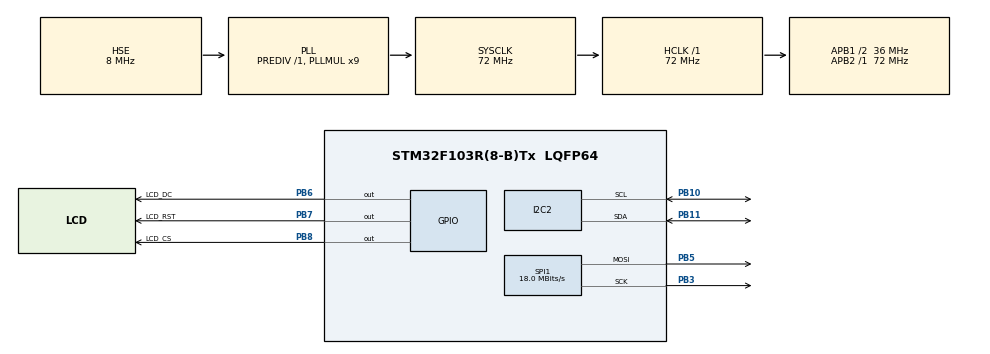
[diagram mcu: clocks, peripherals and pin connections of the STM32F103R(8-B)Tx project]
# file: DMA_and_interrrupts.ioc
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Dma.I2C2_RX.1.Direction=DMA_PERIPH_TO_MEMORY
Dma.I2C2_RX.1.Instance=DMA1_Channel5
Dma.I2C2_RX.1.MemDataAlignment=DMA_MDATAALIGN_BYTE
Dma.I2C2_RX.1.MemInc=DMA_MINC_ENABLE
Dma.I2C2_RX.1.Mode=DMA_NORMAL
Dma.I2C2_RX.1.PeriphDataAlignment=DMA_PDATAALIGN_BYTE
Dma.I2C2_RX.1.PeriphInc=DMA_PINC_DISABLE
Dma.I2C2_RX.1.Priority=DMA_PRIORITY_LOW
Dma.Request0=SPI1_TX
Dma.Request1=I2C2_RX
Dma.SPI1_TX.0.Direction=DMA_MEMORY_TO_PERIPH
Dma.SPI1_TX.0.Instance=DMA1_Channel3
Dma.SPI1_TX.0.MemDataAlignment=DMA_MDATAALIGN_BYTE
Dma.SPI1_TX.0.MemInc=DMA_MINC_ENABLE
Dma.SPI1_TX.0.Mode=DMA_NORMAL
Dma.SPI1_TX.0.PeriphDataAlignment=DMA_PDATAALIGN_BYTE
Dma.SPI1_TX.0.PeriphInc=DMA_PINC_DISABLE
Dma.SPI1_TX.0.Priority=DMA_PRIORITY_LOW
I2C2.I2C_Mode=I2C_Standard
Mcu.Family=STM32F1
Mcu.Name=STM32F103R(8-B)Tx
Mcu.Package=LQFP64
NVIC.DMA1_Channel3_IRQn=true\:0\:0\:false\:false\:true\:false\:true\:true
NVIC.DMA1_Channel5_IRQn=true\:0\:0\:false\:false\:true\:false\:true\:true
NVIC.I2C2_EV_IRQn=true\:0\:0\:false\:false\:true\:true\:true\:true
NVIC.PriorityGroup=NVIC_PRIORITYGROUP_4
PA13.Mode=Serial_Wire
PA13.Signal=SYS_JTMS-SWDIO
PA14.Mode=Serial_Wire
PA14.Signal=SYS_JTCK-SWCLK
PB10.Mode=I2C
PB10.Signal=I2C2_SCL
PB11.Mode=I2C
PB11.Signal=I2C2_SDA
PB3.Mode=TX_Only_Simplex_Unidirect_Master
PB3.Signal=SPI1_SCK
PB5.Mode=TX_Only_Simplex_Unidirect_Master
PB5.Signal=SPI1_MOSI
PB6.GPIO_Label=LCD_DC
PB6.GPIO_PuPd=GPIO_NOPULL
PB6.GPIO_Speed=GPIO_SPEED_FREQ_HIGH
PB6.PinState=GPIO_PIN_SET
PB6.Signal=GPIO_Output
PB7.GPIO_Label=LCD_RST
PB7.GPIO_PuPd=GPIO_PULLUP
PB7.GPIO_Speed=GPIO_SPEED_FREQ_HIGH
PB7.PinState=GPIO_PIN_SET
PB7.Signal=GPIO_Output
PB8.GPIO_Label=LCD_CS
PB8.GPIO_PuPd=GPIO_PULLUP
PB8.GPIO_Speed=GPIO_SPEED_FREQ_HIGH
PB8.PinState=GPIO_PIN_SET
PB8.Signal=GPIO_Output
PD0-OSC_IN.Mode=HSE-External-Oscillator
PD0-OSC_IN.Signal=RCC_OSC_IN
PD1-OSC_OUT.Mode=HSE-External-Oscillator
PD1-OSC_OUT.Signal=RCC_OSC_OUT
ProjectManager.HeapSize=0x200
ProjectManager.StackSize=0x400
ProjectManager.TargetToolchain=STM32CubeIDE
RCC.AHBFreq_Value=72000000
RCC.APB1CLKDivider=RCC_HCLK_DIV2
RCC.APB1Freq_Value=36000000
RCC.APB1TimFreq_Value=72000000
RCC.APB2Freq_Value=72000000
RCC.APB2TimFreq_Value=72000000
RCC.EnbaleCSS=true
RCC.HCLKFreq_Value=72000000
RCC.PLLMUL=RCC_PLL_MUL9
RCC.PLLSourceVirtual=RCC_PLLSOURCE_HSE
RCC.SYSCLKFreq_VALUE=72000000
RCC.SYSCLKSource=RCC_SYSCLKSOURCE_PLLCLK
RCC.USBFreq_Value=72000000
SPI1.BaudRatePrescaler=SPI_BAUDRATEPRESCALER_4
SPI1.CLKPolarity=SPI_POLARITY_LOW
SPI1.CalculateBaudRate=18.0 MBits/s
SPI1.Direction=SPI_DIRECTION_2LINES
SPI1.Mode=SPI_MODE_MASTER
SPI1.VirtualType=VM_MASTER
board=custom

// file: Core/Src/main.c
/* USER CODE BEGIN Header */
/**
  ******************************************************************************
  * @file           : main.c
  * @brief          : Main program body
  ******************************************************************************
  * @attention
  *
  * Copyright (c) 2024 STMicroelectronics.
  * All rights reserved.
  *
  * This software is licensed under terms that can be found in the LICENSE file
  * in the root directory of this software component.
  * If no LICENSE file comes with this software, it is provided AS-IS.
  *
  ******************************************************************************
  */
/* USER CODE END Header */
#include "main.h"

/* USER CODE BEGIN Includes */
#include "lcd.h"
#include "bme280.h"
#include "bme280_defs.h"
#include <stdio.h>
/* USER CODE END Includes */

/* USER CODE BEGIN PM */
#define DEFAULT_FONT FONT_6X8
/* USER CODE END PM */

I2C_HandleTypeDef hi2c2;
DMA_HandleTypeDef hdma_i2c2_rx;

SPI_HandleTypeDef hspi1;
DMA_HandleTypeDef hdma_spi1_tx;

void SystemClock_Config(void);
static void MX_GPIO_Init(void);
static void MX_DMA_Init(void);
static void MX_SPI1_Init(void);
static void MX_I2C2_Init(void);

/* USER CODE BEGIN PFP */
uint8_t get_weather_data(struct bme280_data *data, struct bme280_dev *dev, struct bme280_settings *settings);
BME280_INTF_RET_TYPE bme280_i2c_read(uint8_t reg_addr, uint8_t *reg_data, uint32_t len, void *intf_ptr);
BME280_INTF_RET_TYPE bme280_i2c_write(uint8_t reg_addr, const uint8_t *reg_data, uint32_t len, void *intf_ptr);
void bme280_delay_us(uint32_t period, void *intf_ptr);
/* USER CODE END PFP */

int main(void)
{
  /* USER CODE BEGIN 1 */
	CoreDebug->DEMCR |= CoreDebug_DEMCR_TRCENA_Msk; // Enable DWT
	DWT->CYCCNT = 0;                                // Clear counter
	DWT->CTRL = DWT_CTRL_CYCCNTENA_Msk;             // Enable counter
  /* USER CODE END 1 */

  /* MCU Configuration--------------------------------------------------------*/

  /* Reset of all peripherals, Initializes the Flash interface and the Systick. */
  HAL_Init();

  /* Configure the system clock */
  SystemClock_Config();

  /* Initialize all configured peripherals */
  MX_GPIO_Init();
  MX_DMA_Init();
  MX_SPI1_Init();
  MX_I2C2_Init();
  /* USER CODE BEGIN 2 */
  LCD_init();
  struct bme280_dev bme280;
  bme280.chip_id = BME280_I2C_ADDR_PRIM;
  bme280.delay_us = bme280_delay_us;
  bme280.write = bme280_i2c_write;
  bme280.read = bme280_i2c_read;
  bme280.intf = BME280_I2C_INTF;

  struct bme280_settings settings;
  settings.filter = BME280_FILTER_COEFF_16;
  settings.osr_h = BME280_OVERSAMPLING_2X;
  settings.osr_p = BME280_OVERSAMPLING_16X;
  settings.osr_t = BME280_OVERSAMPLING_2X;

  uint8_t result;
  result = bme280_init(&bme280);
  if(result == BME280_OK){
	  uint8_t desired_settings  = BME280_SEL_OSR_PRESS | BME280_SEL_OSR_TEMP | BME280_SEL_OSR_HUM | BME280_SEL_FILTER;
	  result = bme280_set_sensor_settings(desired_settings, &settings, &bme280);
	 // result = bme280_get_sensor_settings(&settings, &bme280);
  }

  struct bme280_data sensor_data;
  char disp_temp[30];
  char disp_press[30];
  char disp_hum[30];
  /* USER CODE END 2 */

  /* Infinite loop */
  /* USER CODE BEGIN WHILE */
  while (1)
  {
	//LCD_Test();
	  //API from Bosch test
	  result = get_weather_data(&sensor_data, &bme280, &settings);
	  sprintf(disp_temp,"Temperature: %ld.%02ld",sensor_data.temperature/100,sensor_data.temperature%100);
	  sprintf(disp_hum,"Humidity: %lu.%02lu",sensor_data.humidity/1000,sensor_data.humidity%1000);
	  sprintf(disp_press,"Pressure: %lu",sensor_data.pressure/100 + 8);
	  LCD_PutStr(50, 56, disp_temp, DEFAULT_FONT, C_GREEN, C_BLACK);
	  //HAL_Delay(500);
	  LCD_PutStr(50, 76, disp_press, DEFAULT_FONT, C_GREEN, C_BLACK);
	  //HAL_Delay(500);
	  LCD_PutStr(50, 96, disp_hum, DEFAULT_FONT, C_GREEN, C_BLACK);
	  HAL_Delay(500);

    /* USER CODE END WHILE */

  }
}

void SystemClock_Config(void)
{
  RCC_OscInitTypeDef RCC_OscInitStruct = {0};
  RCC_ClkInitTypeDef RCC_ClkInitStruct = {0};

  /** Initializes the RCC Oscillators according to the specified parameters
  * in the RCC_OscInitTypeDef structure.
  */
  RCC_OscInitStruct.OscillatorType = RCC_OSCILLATORTYPE_HSE;
  RCC_OscInitStruct.HSEState = RCC_HSE_ON;
  RCC_OscInitStruct.HSEPredivValue = RCC_HSE_PREDIV_DIV1;
  RCC_OscInitStruct.HSIState = RCC_HSI_ON;
  RCC_OscInitStruct.PLL.PLLState = RCC_PLL_ON;
  RCC_OscInitStruct.PLL.PLLSource = RCC_PLLSOURCE_HSE;
  RCC_OscInitStruct.PLL.PLLMUL = RCC_PLL_MUL9;
  if (HAL_RCC_OscConfig(&RCC_OscInitStruct) != HAL_OK)
  {
    Error_Handler();
  }

  /** Initializes the CPU, AHB and APB buses clocks
  */
  RCC_ClkInitStruct.ClockType = RCC_CLOCKTYPE_HCLK|RCC_CLOCKTYPE_SYSCLK
                              |RCC_CLOCKTYPE_PCLK1|RCC_CLOCKTYPE_PCLK2;
  RCC_ClkInitStruct.SYSCLKSource = RCC_SYSCLKSOURCE_PLLCLK;
  RCC_ClkInitStruct.AHBCLKDivider = RCC_SYSCLK_DIV1;
  RCC_ClkInitStruct.APB1CLKDivider = RCC_HCLK_DIV2;
  RCC_ClkInitStruct.APB2CLKDivider = RCC_HCLK_DIV1;

  if (HAL_RCC_ClockConfig(&RCC_ClkInitStruct, FLASH_LATENCY_2) != HAL_OK)
  {
    Error_Handler();
  }

  /** Enables the Clock Security System
  */
  HAL_RCC_EnableCSS();
}

static void MX_I2C2_Init(void)
{

  hi2c2.Instance = I2C2;
  hi2c2.Init.ClockSpeed = 100000;
  hi2c2.Init.DutyCycle = I2C_DUTYCYCLE_2;
  hi2c2.Init.OwnAddress1 = 0;
  hi2c2.Init.AddressingMode = I2C_ADDRESSINGMODE_7BIT;
  hi2c2.Init.DualAddressMode = I2C_DUALADDRESS_DISABLE;
  hi2c2.Init.OwnAddress2 = 0;
  hi2c2.Init.GeneralCallMode = I2C_GENERALCALL_DISABLE;
  hi2c2.Init.NoStretchMode = I2C_NOSTRETCH_DISABLE;
  if (HAL_I2C_Init(&hi2c2) != HAL_OK)
  {
    Error_Handler();
  }

}

static void MX_SPI1_Init(void)
{

  /* SPI1 parameter configuration*/
  hspi1.Instance = SPI1;
  hspi1.Init.Mode = SPI_MODE_MASTER;
  hspi1.Init.Direction = SPI_DIRECTION_2LINES;
  hspi1.Init.DataSize = SPI_DATASIZE_8BIT;
  hspi1.Init.CLKPolarity = SPI_POLARITY_LOW;
  hspi1.Init.CLKPhase = SPI_PHASE_1EDGE;
  hspi1.Init.NSS = SPI_NSS_SOFT;
  hspi1.Init.BaudRatePrescaler = SPI_BAUDRATEPRESCALER_4;
  hspi1.Init.FirstBit = SPI_FIRSTBIT_MSB;
  hspi1.Init.TIMode = SPI_TIMODE_DISABLE;
  hspi1.Init.CRCCalculation = SPI_CRCCALCULATION_DISABLE;
  hspi1.Init.CRCPolynomial = 10;
  if (HAL_SPI_Init(&hspi1) != HAL_OK)
  {
    Error_Handler();
  }

}

static void MX_DMA_Init(void)
{

  /* DMA controller clock enable */
  __HAL_RCC_DMA1_CLK_ENABLE();

  /* DMA interrupt init */
  /* DMA1_Channel3_IRQn interrupt configuration */
  HAL_NVIC_SetPriority(DMA1_Channel3_IRQn, 0, 0);
  HAL_NVIC_EnableIRQ(DMA1_Channel3_IRQn);
  /* DMA1_Channel5_IRQn interrupt configuration */
  HAL_NVIC_SetPriority(DMA1_Channel5_IRQn, 0, 0);
  HAL_NVIC_EnableIRQ(DMA1_Channel5_IRQn);

}

static void MX_GPIO_Init(void)
{
  GPIO_InitTypeDef GPIO_InitStruct = {0};

  /* GPIO Ports Clock Enable */
  __HAL_RCC_GPIOD_CLK_ENABLE();
  __HAL_RCC_GPIOB_CLK_ENABLE();
  __HAL_RCC_GPIOA_CLK_ENABLE();

  /*Configure GPIO pin Output Level */
  HAL_GPIO_WritePin(GPIOB, LCD_DC_Pin|LCD_RST_Pin|LCD_CS_Pin, GPIO_PIN_SET);

  /*Configure GPIO pin : LCD_DC_Pin */
  GPIO_InitStruct.Pin = LCD_DC_Pin;
  GPIO_InitStruct.Mode = GPIO_MODE_OUTPUT_PP;
  GPIO_InitStruct.Pull = GPIO_NOPULL;
  GPIO_InitStruct.Speed = GPIO_SPEED_FREQ_HIGH;
  HAL_GPIO_Init(LCD_DC_GPIO_Port, &GPIO_InitStruct);

  /*Configure GPIO pins : LCD_RST_Pin LCD_CS_Pin */
  GPIO_InitStruct.Pin = LCD_RST_Pin|LCD_CS_Pin;
  GPIO_InitStruct.Mode = GPIO_MODE_OUTPUT_PP;
  GPIO_InitStruct.Pull = GPIO_PULLUP;
  GPIO_InitStruct.Speed = GPIO_SPEED_FREQ_HIGH;
  HAL_GPIO_Init(GPIOB, &GPIO_InitStruct);

}

/* USER CODE BEGIN 4 */

uint8_t get_weather_data(struct bme280_data *data, struct bme280_dev *dev, struct bme280_settings *settings){
	int8_t rslt = BME280_OK;
	uint32_t req_delay;
	uint8_t sensor_mode = BME280_POWERMODE_FORCED;
	rslt = bme280_cal_meas_delay(&req_delay, settings);
	req_delay/=1000; //convert to ms
	if(rslt != BME280_OK){
		return -1;
	}
	rslt = bme280_set_sensor_mode(sensor_mode, dev);
	if(rslt != BME280_OK){
		return -1;
	}
	HAL_Delay(req_delay);
	rslt = bme280_get_sensor_data(BME280_PRESS | BME280_TEMP | BME280_HUM, data, dev);
	if(rslt != BME280_OK){
		return -1;
	}
	return BME280_OK;
}

BME280_INTF_RET_TYPE bme280_i2c_read(uint8_t reg_addr, uint8_t *reg_data, uint32_t len, void *intf_ptr){
	HAL_StatusTypeDef ret;
	ret = HAL_I2C_Master_Transmit(&hi2c2, BME280_I2C_ADDR_PRIM<<1, &reg_addr, 1, 1000);
	if(ret != HAL_OK){
		return BME280_E_COMM_FAIL;
	}
	ret = HAL_I2C_Master_Receive(&hi2c2, BME280_I2C_ADDR_PRIM<<1, reg_data, (uint16_t)len,1000);
	if(ret != HAL_OK){
		return BME280_E_COMM_FAIL;
	}
	return BME280_INTF_RET_SUCCESS;
}

BME280_INTF_RET_TYPE bme280_i2c_read_DMA(uint8_t reg_addr, uint8_t *reg_data, uint32_t len, void *intf_ptr){
	HAL_I2C_Master_Receive_DMA(&hi2c2, BME280_I2C_ADDR_PRIM<<1, reg_data, (uint16_t)len);
}

BME280_INTF_RET_TYPE bme280_i2c_write(uint8_t reg_addr, const uint8_t *reg_data, uint32_t len, void *intf_ptr){
	HAL_StatusTypeDef ret;
	uint8_t data_to_send[len+1];
	data_to_send[0]=reg_addr;
	for(int i=0;i<len;i++){
		data_to_send[i+1] = reg_data[i];
	}
	ret = HAL_I2C_Master_Transmit(&hi2c2, BME280_I2C_ADDR_PRIM<<1, data_to_send, len+1, 1000);
	if(ret != HAL_OK){
		return BME280_E_COMM_FAIL;
	}
	/*
	ret = HAL_I2C_Master_Transmit(&hi2c2, BME280_I2C_ADDR_PRIM<<1, reg_data, (uint16_t)len, 1000);
	if(ret != HAL_OK){
		return BME280_E_COMM_FAIL;
		}
		*/
	return BME280_INTF_RET_SUCCESS;

}
void bme280_delay_us(uint32_t period, void *intf_ptr){
	HAL_Delay(period/1000);
}
/* USER CODE END 4 */

void Error_Handler(void)
{
  __disable_irq();
  while (1)
  {
  }
}
